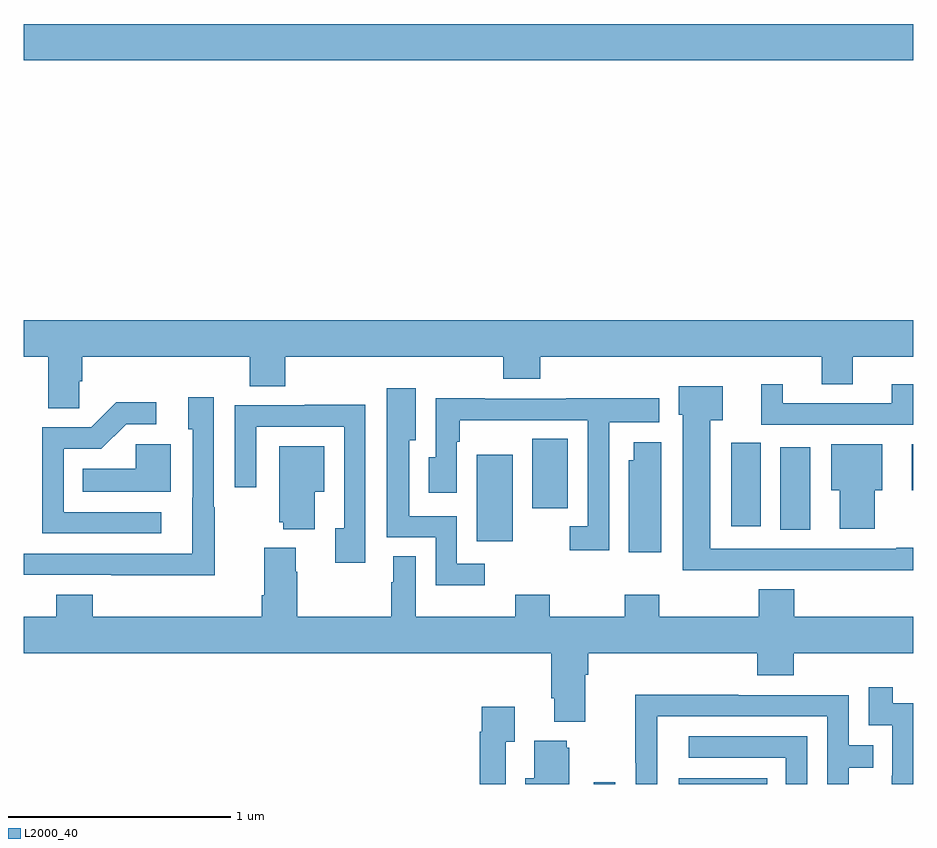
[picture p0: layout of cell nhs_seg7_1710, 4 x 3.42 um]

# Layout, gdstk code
import gdstk
lib = gdstk.Library(unit=1e-6, precision=1e-09)
def R(c, l, rs):  # rectangles x0, y0, x1, y1
    for r in rs: c.add(gdstk.rectangle(r[:2], r[2:], *l))
def P(c, l, *ps):  # polygons
    for p in ps: c.add(gdstk.Polygon(p, *l))
L2000_40 = (2000, 40)

nhs_seg7_1710 = lib.new_cell('nhs_seg7_1710')
R(nhs_seg7_1710, L2000_40, [(229.563,1028,229.659,1028.007), (229.946,1028,230.342,1028.026), (229.037,1029.092,229.198,1029.481), (230.402,1029.142,230.536,1029.514), (230.18,1029.159,230.314,1029.534), (229.286,1029.24,229.447,1029.551), (230.993,1029.32,231,1029.526), (227,1031.252,231,1031.416)])
P(nhs_seg7_1710, L2000_40, [(227.25,1029.811),(227.264,1029.811),(227.264,1029.92),(228.017,1029.92),(228.017,1029.787),(228.177,1029.787),(228.177,1029.92),(229.157,1029.92),(229.157,1029.821),(229.322,1029.821),(229.322,1029.92),(230.588,1029.92),(230.588,1029.796),(230.728,1029.796),(230.728,1029.92),(231,1029.92),(231,1030.084),(227,1030.084),(227,1029.92),(227.111,1029.92),(227.111,1029.688),(227.25,1029.688)],
  [(231,1029.796),(230.903,1029.796),(230.903,1029.711),(230.413,1029.711),(230.413,1029.796),(230.315,1029.796),(230.315,1029.615),(231,1029.615)],
  [(230.182,1028.961),(230.548,1028.961),(230.548,1028.96),(231,1028.96),(231,1029.062),(230.923,1029.062),(230.923,1029.057),(230.086,1029.057),(230.086,1029.635),(230.143,1029.635),(230.143,1029.787),(229.946,1029.787),(229.946,1029.66),(229.964,1029.66),(229.964,1028.96),(230.182,1028.96)],
  [(229.072,1028.991),(228.948,1028.991),(228.948,1029.204),(228.733,1029.204),(228.733,1029.545),(228.763,1029.545),(228.763,1029.778),(228.632,1029.778),(228.632,1029.108),(228.852,1029.108),(228.852,1028.894),(229.072,1028.894)],
  [(227.859,1029.245),(227.856,1029.245),(227.856,1029.739),(227.741,1029.739),(227.741,1029.594),(227.76,1029.594),(227.76,1029.287),(227.759,1029.287),(227.759,1029.036),(227,1029.036),(227,1028.94),(227.395,1028.94),(227.395,1028.939),(227.859,1028.939)],
  [(229.632,1029.626),(229.858,1029.626),(229.858,1029.734),(229.439,1029.734),(229.439,1029.732),(229.073,1029.732),(229.073,1029.734),(228.852,1029.734),(228.852,1029.468),(228.821,1029.468),(228.821,1029.309),(228.948,1029.309),(228.948,1029.539),(228.961,1029.539),(228.961,1029.635),(229.19,1029.635),(229.19,1029.636),(229.536,1029.636),(229.536,1029.159),(229.455,1029.159),(229.455,1029.051),(229.632,1029.051)],
  [(227.62,1029.222),(227.181,1029.222),(227.181,1029.507),(227.35,1029.507),(227.461,1029.618),(227.596,1029.618),(227.596,1029.716),(227.417,1029.716),(227.304,1029.603),(227.085,1029.603),(227.085,1029.126),(227.62,1029.126)],
  [(228.537,1029.704),(228.265,1029.704),(228.265,1029.702),(227.949,1029.702),(227.949,1029.333),(228.045,1029.333),(228.045,1029.606),(228.441,1029.606),(228.441,1029.15),(228.401,1029.15),(228.401,1028.994),(228.537,1028.994)],
  [(229.867,1029.535),(229.742,1029.535),(229.742,1029.456),(229.721,1029.456),(229.721,1029.042),(229.867,1029.042)],
  [(230.827,1029.32),(230.86,1029.32),(230.86,1029.526),(230.63,1029.526),(230.63,1029.32),(230.669,1029.32),(230.669,1029.147),(230.827,1029.147)],
  [(227.662,1029.526),(227.505,1029.526),(227.505,1029.418),(227.266,1029.418),(227.266,1029.314),(227.662,1029.314)],
  [(228.31,1029.314),(228.352,1029.314),(228.352,1029.517),(228.149,1029.517),(228.149,1029.177),(228.167,1029.177),(228.167,1029.146),(228.31,1029.146)],
  [(229.525,1028.492),(229.538,1028.492),(229.538,1028.588),(230.297,1028.588),(230.297,1028.489),(230.462,1028.489),(230.462,1028.588),(231,1028.588),(231,1028.752),(230.465,1028.752),(230.465,1028.876),(230.305,1028.876),(230.305,1028.752),(229.857,1028.752),(229.857,1028.851),(229.702,1028.851),(229.702,1028.752),(229.365,1028.752),(229.365,1028.851),(229.21,1028.851),(229.21,1028.752),(228.763,1028.752),(228.763,1029.023),(228.662,1029.023),(228.662,1028.906),(228.652,1028.906),(228.652,1028.752),(228.231,1028.752),(228.231,1028.954),(228.223,1028.954),(228.223,1029.061),(228.083,1029.061),(228.083,1028.848),(228.071,1028.848),(228.071,1028.752),(227.312,1028.752),(227.312,1028.851),(227.147,1028.851),(227.147,1028.752),(227,1028.752),(227,1028.588),(229.373,1028.588),(229.373,1028.386),(229.385,1028.386),(229.385,1028.279),(229.525,1028.279)],
  [(231,1028.364),(230.908,1028.364),(230.908,1028.434),(230.799,1028.434),(230.799,1028.265),(230.904,1028.265),(230.904,1028.036),(230.903,1028.036),(230.903,1028),(231,1028)],
  [(229.848,1028.053),(229.849,1028.053),(229.849,1028.304),(230.613,1028.304),(230.613,1028),(230.709,1028),(230.709,1028.074),(230.819,1028.074),(230.819,1028.175),(230.709,1028.175),(230.709,1028.4),(230.213,1028.4),(230.213,1028.402),(229.75,1028.402),(229.75,1028.095),(229.752,1028.095),(229.752,1028),(229.848,1028)],
  [(229.167,1028.191),(229.207,1028.191),(229.207,1028.347),(229.059,1028.347),(229.059,1028.234),(229.051,1028.234),(229.051,1028),(229.167,1028)],
  [(230.523,1028.214),(229.989,1028.214),(229.989,1028.118),(230.427,1028.118),(230.427,1028),(230.523,1028)],
  [(229.453,1028.163),(229.442,1028.163),(229.442,1028.194),(229.295,1028.194),(229.295,1028.026),(229.256,1028.026),(229.256,1028),(229.453,1028)])

lib.write_gds('nhs_seg7_1710.gds')
